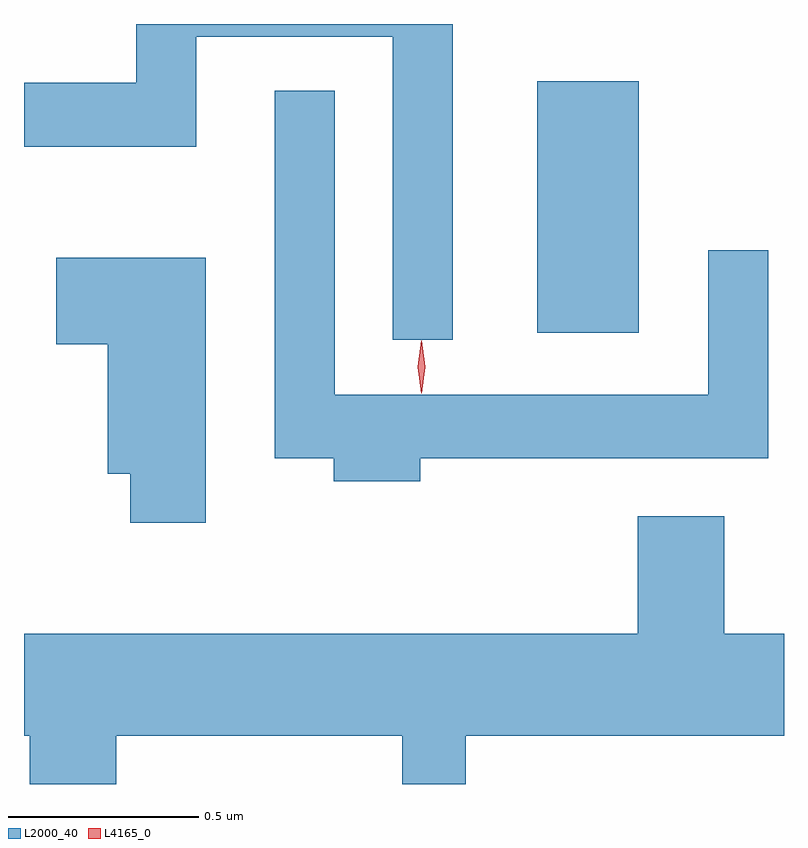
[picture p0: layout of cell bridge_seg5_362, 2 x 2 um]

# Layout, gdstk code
import gdstk
lib = gdstk.Library(unit=1e-6, precision=1e-09)
def R(c, l, rs):  # rectangles x0, y0, x1, y1
    for r in rs: c.add(gdstk.rectangle(r[:2], r[2:], *l))
def P(c, l, *ps):  # polygons
    for p in ps: c.add(gdstk.Polygon(p, *l))
L2000_40 = (2000, 40)
L4165_0 = (4165, 0)

bridge_seg5_362 = lib.new_cell('bridge_seg5_362')
R(bridge_seg5_362, L2000_40, [(762.856,1455.636,763.124,1456.299)])
P(bridge_seg5_362, L2000_40, [(762.634,1456.449),(761.801,1456.449),(761.801,1456.294),(761.506,1456.294),(761.506,1456.126),(761.959,1456.126),(761.959,1456.416),(762.476,1456.416),(762.476,1455.618),(762.634,1455.618)],
  [(762.549,1455.306),(763.464,1455.306),(763.464,1455.853),(763.306,1455.853),(763.306,1455.474),(762.324,1455.474),(762.324,1456.273),(762.166,1456.273),(762.166,1455.306),(762.321,1455.306),(762.321,1455.246),(762.549,1455.246)],
  [(761.984,1455.834),(761.591,1455.834),(761.591,1455.606),(761.726,1455.606),(761.726,1455.266),(761.786,1455.266),(761.786,1455.136),(761.984,1455.136)],
  [(761.749,1454.576),(762.501,1454.576),(762.501,1454.449),(762.669,1454.449),(762.669,1454.576),(763.506,1454.576),(763.506,1454.844),(763.349,1454.844),(763.349,1455.154),(763.121,1455.154),(763.121,1454.844),(761.506,1454.844),(761.506,1454.576),(761.521,1454.576),(761.521,1454.449),(761.749,1454.449)])
P(bridge_seg5_362, L4165_0, [(762.552,1455.48),(762.552,1455.48),(762.542,1455.546),(762.552,1455.613),(762.552,1455.613),(762.553,1455.613),(762.562,1455.546),(762.553,1455.48)],
  [(762.552,1455.477),(762.552,1455.477),(762.542,1455.547),(762.552,1455.616),(762.552,1455.616),(762.553,1455.616),(762.562,1455.547),(762.553,1455.477)])

lib.write_gds('bridge_seg5_362.gds')
